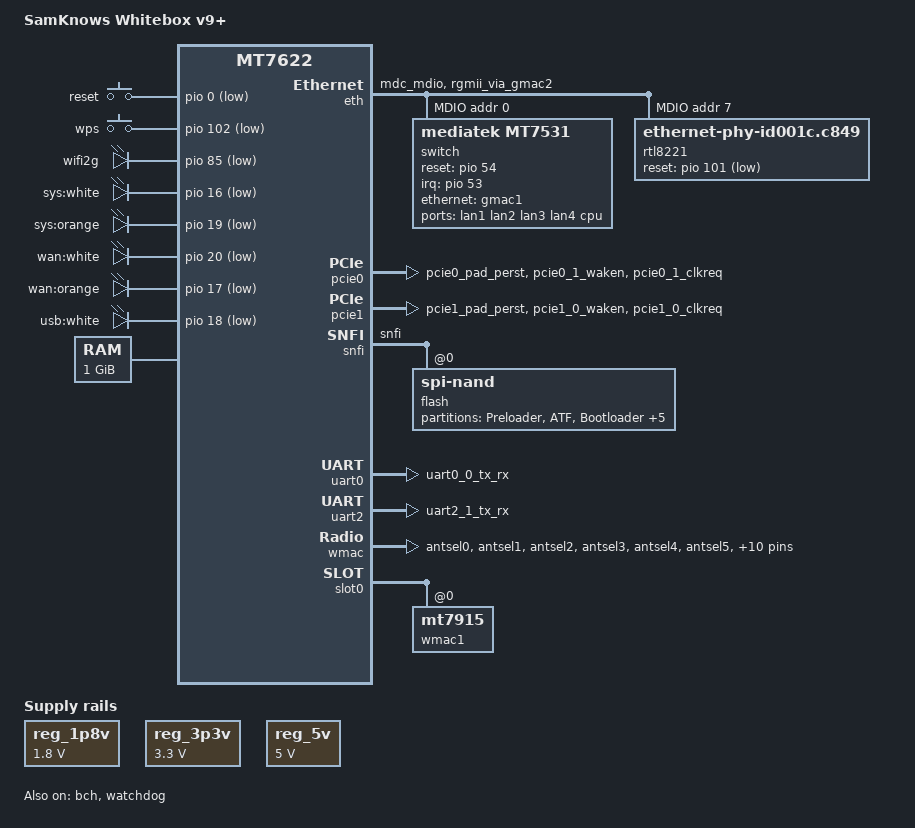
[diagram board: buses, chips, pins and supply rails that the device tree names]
// SPDX-License-Identifier: (GPL-2.0-only OR MIT)

/dts-v1/;
#include <dt-bindings/input/input.h>
#include <dt-bindings/gpio/gpio.h>

#include "mt7622.dtsi"
#include "mt6380.dtsi"

/ {
	compatible = "samknows,whitebox-v9plus", "mediatek,mt7622";
	model = "SamKnows Whitebox v9+";

	aliases {
		serial0 = &uart0;
	};

	chosen {
		stdout-path = "serial0:115200n8";
		bootargs = "earlycon=uart8250,mmio32,0x11002000 console=ttyS0,115200n1 swiotlb=512";
	};

	cpus {
		cpu@0 {
			proc-supply = <&mt6380_vcpu_reg>;
			sram-supply = <&mt6380_vm_reg>;
		};

		cpu@1 {
			proc-supply = <&mt6380_vcpu_reg>;
			sram-supply = <&mt6380_vm_reg>;
		};
	};

	gpio-keys {
		compatible = "gpio-keys";

		reset {
			label = "reset";
			linux,code = <KEY_RESTART>;
			gpios = <&pio 0 GPIO_ACTIVE_LOW>;
		};

		wps {
			label = "wps";
			linux,code = <KEY_WPS_BUTTON>;
			gpios = <&pio 102 GPIO_ACTIVE_LOW>;
		};
	};

	gpio-leds {
		compatible = "gpio-leds";

		wifi2g {
			label = "wifi2g";
			gpios = <&pio 85 GPIO_ACTIVE_LOW>;
			default-state = "off";
		};

		syswhite {
			label = "sys:white";
			gpios = <&pio 16 GPIO_ACTIVE_LOW>;
			default-state = "off";
		};

		sysorange {
			label = "sys:orange";
			gpios = <&pio 19 GPIO_ACTIVE_LOW>;
			default-state = "on";
		};

		wanwhite {
			label = "wan:white";
			gpios = <&pio 20 GPIO_ACTIVE_LOW>;
			default-state = "off";
		};

		wanorange {
			label = "wan:orange";
			gpios = <&pio 17 GPIO_ACTIVE_LOW>;
			default-state = "off";
		};

		usb {
			label = "usb:white";
			gpios = <&pio 18 GPIO_ACTIVE_LOW>;
			default-state = "off";
		};
	};

	memory {
		reg = <0 0x40000000 0 0x40000000>;
	};

	reg_1p8v: regulator-1p8v {
		compatible = "regulator-fixed";
		regulator-name = "fixed-1.8V";
		regulator-min-microvolt = <1800000>;
		regulator-max-microvolt = <1800000>;
		regulator-always-on;
	};

	reg_3p3v: regulator-3p3v {
		compatible = "regulator-fixed";
		regulator-name = "fixed-3.3V";
		regulator-min-microvolt = <3300000>;
		regulator-max-microvolt = <3300000>;
		regulator-boot-on;
		regulator-always-on;
	};

	reg_5v: regulator-5v {
		compatible = "regulator-fixed";
		regulator-name = "fixed-5V";
		regulator-min-microvolt = <5000000>;
		regulator-max-microvolt = <5000000>;
		regulator-boot-on;
		regulator-always-on;
	};
};

&bch {
	status = "okay";
};

&eth {
	pinctrl-names = "default";
	pinctrl-0 = <&eth_pins>;
	status = "okay";

	gmac0: mac@0 {
		compatible = "mediatek,eth-mac";
		reg = <0>;

		phy-handle = <&rtl8221>;
		//phy-connection-type = "";
		// phy-connection-type = "2500base-x";
		phy-mode = "2500base-x";
		// phy-connection-type = "2500base-x";
		nvmem-cells = <&macaddr_factory_0>;
		nvmem-cell-names = "mac-address";
	};

	gmac1: mac@1 {
		compatible = "mediatek,eth-mac";
		reg = <1>;
		phy-mode = "rgmii";
		nvmem-cells = <&macaddr_factory_6>;
		nvmem-cell-names = "mac-address";
		fixed-link {
			speed = <1000>;
			full-duplex;
			pause;
		};
	};

	mdio-bus {
		#address-cells = <1>;
		#size-cells = <0>;

		switch@0 {
			compatible = "mediatek,mt7531";
			reg = <0>;
			interrupt-controller;
			#interrupt-cells = <1>;
			interrupt-parent = <&pio>;
			interrupts = <53 IRQ_TYPE_LEVEL_HIGH>;
			reset-gpios = <&pio 54 0>;

			ports {
				#address-cells = <1>;
				#size-cells = <0>;

				port@1 {
					reg = <1>;
					label = "lan1";
				};

				port@2 {
					reg = <2>;
					label = "lan2";
				};

				port@3 {
					reg = <3>;
					label = "lan3";
				};

				port@4 {
					reg = <4>;
					label = "lan4";
				};

				port@5 {
					reg = <5>;
					label = "cpu";
					ethernet = <&gmac1>;
					phy-mode = "rgmii";

					fixed-link {
						speed = <1000>;
						full-duplex;
						pause;
					};
				};
			};
		};

		rtl8221: ethernet-phy@7 {
			//compatible = "ethernet-phy-ieee802.3-c22";
			//compatible = "ethernet-phy-ieee802.3-c45";
			compatible = "ethernet-phy-id001c.c849";
			reg = <7>;
			interrupts = <52 IRQ_TYPE_LEVEL_HIGH>;
			reset-gpios = <&pio 101 GPIO_ACTIVE_LOW>;
			reset-assert-us = <100000>;
			reset-deassert-us = <100000>;
		};
	};
};

&pcie0 {
	pinctrl-names = "default";
	pinctrl-0 = <&pcie0_pins>;
	status = "okay";
};

&pcie1 {
	pinctrl-names = "default";
	pinctrl-0 = <&pcie1_pins>;
	status = "okay";
};

&pio {
	eth_pins: eth-pins {
		mux {
			function = "eth";
			groups = "mdc_mdio", "rgmii_via_gmac2";
		};
	};

	pcie0_pins: pcie0-pins {
		mux {
			function = "pcie";
			groups = "pcie0_pad_perst",
				 "pcie0_1_waken",
				 "pcie0_1_clkreq";
		};
	};

	pcie1_pins: pcie1-pins {
		mux {
			function = "pcie";
			groups = "pcie1_pad_perst",
				 "pcie1_0_waken",
				 "pcie1_0_clkreq";
		};
	};

	pmic_bus_pins: pmic-bus-pins {
		mux {
			function = "pmic";
			groups = "pmic_bus";
		};
	};

	/* Serial NAND is shared pin with SPI-NOR */
	serial_nand_pins: serial-nand-pins {
		mux {
			function = "flash";
			groups = "snfi";
		};
	};

	uart0_pins: uart0-pins {
		mux {
			function = "uart";
			groups = "uart0_0_tx_rx" ;
		};
	};

	uart2_pins: uart2-pins {
		mux {
			function = "uart";
			groups = "uart2_1_tx_rx" ;
		};
	};

	watchdog_pins: watchdog-pins {
		mux {
			function = "watchdog";
			groups = "watchdog";
		};
	};

	wmac_pins: wmac-pins {
		mux {
			function = "antsel";
			groups = "antsel0",
				 "antsel1",
				 "antsel2",
				 "antsel3",
				 "antsel4",
				 "antsel5",
				 "antsel6",
				 "antsel7",
				 "antsel8",
				 "antsel9",
				 "antsel12",
				 "antsel13",
				 "antsel14",
				 "antsel15",
				 "antsel16",
				 "antsel17";

		};
	};
};

&pwrap {
	pinctrl-names = "default";
	pinctrl-0 = <&pmic_bus_pins>;

	status = "okay";
};

/* mt7622b doesn't contain a rtc */
&rtc {
	status = "disabled";
};


&snfi {
	pinctrl-names = "default";
	pinctrl-0 = <&serial_nand_pins>;
	status = "okay";

	flash@0 {
		compatible = "spi-nand";
		reg = <0>;
		spi-tx-bus-width = <4>;
		spi-rx-bus-width = <4>;
		nand-ecc-engine = <&snfi>;
		mediatek,bmt-v2;
		mediatek,bmt-table-size = <0x1000>;
		mediatek,bmt-remap-range = <0x0 0x8c0000>,
					   <0x1bc0000 0x30c0000>;

		partitions {
			compatible = "fixed-partitions";
			#address-cells = <1>;
			#size-cells = <1>;

			partition@0 {
				label = "Preloader";
				reg = <0x00000 0x0080000>;
				read-only;
			};

			partition@80000 {
				label = "ATF";
				reg = <0x80000 0x0040000>;
			};

			partition@c0000 {
				label = "Bootloader";
				reg = <0xc0000 0x0080000>;
			};

			partition@140000 {
				label = "Config";
				reg = <0x140000 0x0080000>;
			};

			factory: partition@1c0000 {
				label = "Factory";
				reg = <0x1c0000 0x0100000>;
			};

			partition@2c0000 {
				label = "Config2";
				reg = <0x2c0000 0x40000>;
			};

			partition@300000 {
				label = "firmware";
				reg = <0x300000 0x2000000>;
			};

			partition@2300000 {
				label = "firmware2";
				reg = <0x2300000 0x2000000>;
			};
		};
	};
};

&uart0 {
	pinctrl-names = "default";
	pinctrl-0 = <&uart0_pins>;
	status = "okay";
};

&uart2 {
	pinctrl-names = "default";
	pinctrl-0 = <&uart2_pins>;
	status = "okay";
};

&watchdog {
	pinctrl-names = "default";
	pinctrl-0 = <&watchdog_pins>;
	status = "okay";
};

&wmac {
	mediatek,mtd-eeprom = <&factory 0x2000>;
	nvmem-cells = <&macaddr_factory_c>;
	nvmem-cell-names = "mac-address";
	pinctrl-names = "default";
	pinctrl-0 = <&wmac_pins>;
	status = "okay";
};

&slot0 {
	wmac1: mt7915@0,0 {
		reg = <0x0000 0 0 0 0>;
		mediatek,mtd-eeprom = <&factory 0x4000>;
		nvmem-cells = <&macaddr_factory_12>;
		nvmem-cell-names = "mac-address";
		ieee80211-freq-limit = <5000000 6000000>;

		led {
			led-sources = <26>;
			led-active-low;
		};
	};
};

&factory {
	compatible = "nvmem-cells";
	#address-cells = <1>;
	#size-cells = <1>;

	macaddr_factory_0: macaddr@0 {
		reg = <0x0 0x6>;
	};

	macaddr_factory_6: macaddr@6 {
		reg = <0x6 0x6>;
	};
	macaddr_factory_c: macaddr@c {
		reg = <0xc 0x6>;
	};
	macaddr_factory_12: macaddr@12 {
		reg = <0x12 0x6>;
	};
};
